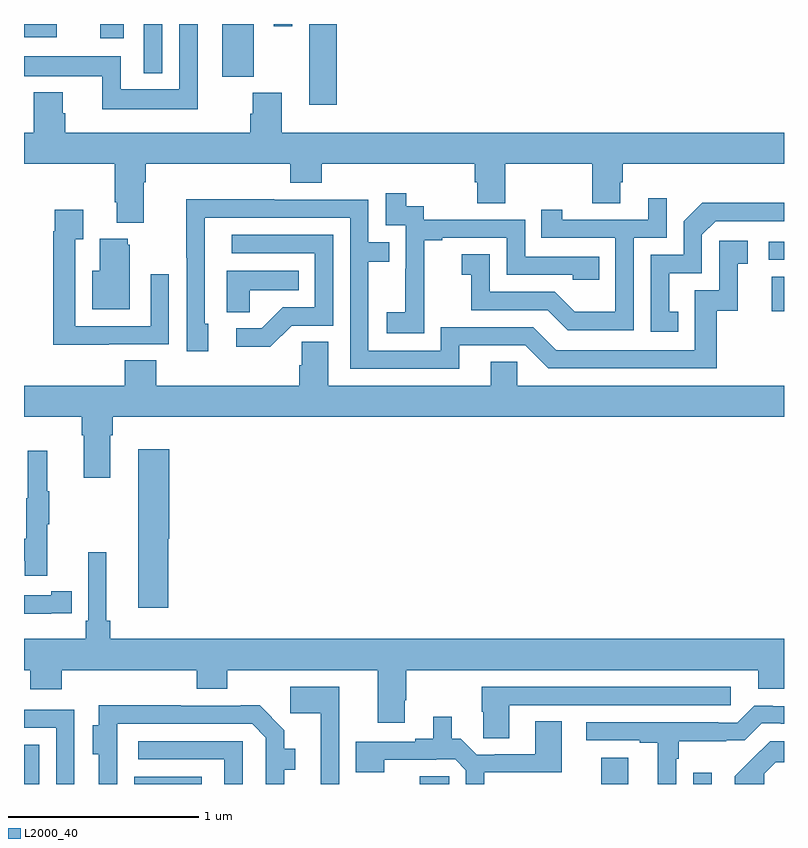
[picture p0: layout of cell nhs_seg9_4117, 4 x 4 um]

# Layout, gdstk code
import gdstk
lib = gdstk.Library(unit=1e-6, precision=1e-09)
def R(c, l, rs):  # rectangles x0, y0, x1, y1
    for r in rs: c.add(gdstk.rectangle(r[:2], r[2:], *l))
def P(c, l, *ps):  # polygons
    for p in ps: c.add(gdstk.Polygon(p, *l))
L2000_40 = (2000, 40)

nhs_seg9_4117 = lib.new_cell('nhs_seg9_4117')
R(nhs_seg9_4117, L2000_40, [(347,1182.5,347.08,1182.706), (347.579,1182.5,347.935,1182.538), (349.084,1182.5,349.237,1182.542), (350.039,1182.5,350.179,1182.637), (350.523,1182.5,350.619,1182.559), (350.936,1184.988,351,1185.169), (350.919,1185.258,351,1185.354), (348.044,1186.222,348.208,1186.5), (347.631,1186.241,347.727,1186.5), (347.402,1186.425,347.524,1186.5), (347,1186.43,347.173,1186.5), (348.315,1186.488,348.411,1186.5)])
P(nhs_seg9_4117, L2000_40, [(348.647,1186.498),(348.617,1186.498),(348.617,1186.5),(348.501,1186.5),(348.501,1186.394),(348.5,1186.394),(348.5,1186.074),(348.647,1186.074)],
  [(347.914,1186.5),(347.817,1186.5),(347.817,1186.156),(347.508,1186.156),(347.508,1186.33),(347,1186.33),(347,1186.226),(347.411,1186.226),(347.411,1186.052),(347.914,1186.052)],
  [(347.629,1185.668),(347.642,1185.668),(347.642,1185.764),(348.401,1185.764),(348.401,1185.665),(348.566,1185.665),(348.566,1185.764),(349.373,1185.764),(349.373,1185.666),(349.385,1185.666),(349.385,1185.556),(349.533,1185.556),(349.533,1185.764),(349.99,1185.764),(349.99,1185.556),(350.137,1185.556),(350.137,1185.666),(350.15,1185.666),(350.15,1185.764),(351,1185.764),(351,1185.928),(348.356,1185.928),(348.356,1186.137),(348.203,1186.137),(348.203,1186.028),(348.191,1186.028),(348.191,1185.928),(347.216,1185.928),(347.216,1186.029),(347.203,1186.029),(347.203,1186.141),(347.051,1186.141),(347.051,1185.928),(347,1185.928),(347,1185.764),(347.477,1185.764),(347.477,1185.562),(347.489,1185.562),(347.489,1185.455),(347.629,1185.455)],
  [(349.107,1185.079),(349.106,1185.079),(349.106,1185.363),(349.201,1185.363),(349.201,1185.375),(349.542,1185.375),(349.542,1185.18),(349.887,1185.18),(349.887,1185.153),(350.027,1185.153),(350.027,1185.276),(349.638,1185.276),(349.638,1185.471),(349.104,1185.471),(349.104,1185.54),(349.012,1185.54),(349.012,1185.61),(348.903,1185.61),(348.903,1185.441),(349.008,1185.441),(349.008,1185.212),(349.007,1185.212),(349.007,1184.983),(348.909,1184.983),(348.909,1184.873),(349.107,1184.873)],
  [(350.208,1185.375),(350.382,1185.375),(350.382,1185.583),(350.285,1185.583),(350.285,1185.471),(349.834,1185.471),(349.834,1185.523),(349.723,1185.523),(349.723,1185.375),(350.112,1185.375),(350.112,1184.986),(349.898,1184.986),(349.794,1185.09),(349.452,1185.09),(349.452,1185.289),(349.305,1185.289),(349.305,1185.179),(349.354,1185.179),(349.354,1184.994),(349.757,1184.994),(349.862,1184.889),(350.208,1184.889)],
  [(349.291,1184.808),(349.638,1184.808),(349.758,1184.688),(350.645,1184.688),(350.645,1184.991),(350.756,1184.991),(350.756,1185.237),(350.809,1185.237),(350.809,1185.358),(350.658,1185.358),(350.658,1185.099),(350.529,1185.099),(350.529,1184.784),(349.8,1184.784),(349.68,1184.904),(349.194,1184.904),(349.194,1184.781),(348.813,1184.781),(348.813,1185.25),(348.923,1185.25),(348.923,1185.351),(348.813,1185.351),(348.813,1185.576),(348.317,1185.576),(348.317,1185.578),(347.854,1185.578),(347.854,1185.271),(347.856,1185.271),(347.856,1184.778),(347.971,1184.778),(347.971,1184.922),(347.952,1184.922),(347.952,1185.48),(348.717,1185.48),(348.717,1184.685),(349.291,1184.685)],
  [(350.444,1184.985),(350.395,1184.985),(350.395,1185.189),(350.568,1185.189),(350.568,1185.39),(350.64,1185.462),(351,1185.462),(351,1185.558),(350.978,1185.558),(350.978,1185.56),(350.57,1185.56),(350.472,1185.462),(350.472,1185.285),(350.298,1185.285),(350.298,1184.88),(350.444,1184.88)],
  [(347.447,1184.814),(347.763,1184.814),(347.763,1185.184),(347.667,1185.184),(347.667,1184.91),(347.271,1184.91),(347.271,1185.367),(347.311,1185.367),(347.311,1185.523),(347.163,1185.523),(347.163,1185.41),(347.155,1185.41),(347.155,1184.813),(347.447,1184.813)],
  [(348.408,1184.913),(348.627,1184.913),(348.627,1185.39),(348.093,1185.39),(348.093,1185.294),(348.531,1185.294),(348.531,1185.009),(348.362,1185.009),(348.251,1184.898),(348.117,1184.898),(348.117,1184.801),(348.295,1184.801)],
  [(347.557,1185.339),(347.546,1185.339),(347.546,1185.37),(347.399,1185.37),(347.399,1185.202),(347.36,1185.202),(347.36,1184.999),(347.557,1184.999)],
  [(348.189,1185.098),(348.446,1185.098),(348.446,1185.202),(348.068,1185.202),(348.068,1184.983),(348.189,1184.983)],
  [(347.455,1184.336),(347.468,1184.336),(347.468,1184.432),(351,1184.432),(351,1184.596),(349.596,1184.596),(349.596,1184.723),(349.457,1184.723),(349.457,1184.596),(348.601,1184.596),(348.601,1184.828),(348.462,1184.828),(348.462,1184.705),(348.449,1184.705),(348.449,1184.596),(347.696,1184.596),(347.696,1184.729),(347.531,1184.729),(347.531,1184.596),(347,1184.596),(347,1184.432),(347.303,1184.432),(347.303,1184.336),(347.315,1184.336),(347.315,1184.112),(347.455,1184.112)],
  [(347.759,1183.791),(347.764,1183.791),(347.764,1184.263),(347.6,1184.263),(347.6,1183.428),(347.759,1183.428)],
  [(347.123,1183.867),(347.134,1183.867),(347.134,1184.041),(347.123,1184.041),(347.123,1184.254),(347.02,1184.254),(347.02,1184.004),(347.013,1184.004),(347.013,1183.79),(347,1183.79),(347,1183.674),(347.005,1183.674),(347.005,1183.596),(347.123,1183.596)],
  [(347.144,1183.398),(347.252,1183.398),(347.252,1183.514),(347.144,1183.514),(347.144,1183.494),(347,1183.494),(347,1183.397),(347.144,1183.397)],
  [(347.453,1183.36),(347.434,1183.36),(347.434,1183.72),(347.337,1183.72),(347.337,1183.36),(347.324,1183.36),(347.324,1183.264),(347,1183.264),(347,1183.1),(347.033,1183.1),(347.033,1182.998),(347.198,1182.998),(347.198,1183.1),(347.909,1183.1),(347.909,1183.001),(348.069,1183.001),(348.069,1183.1),(348.863,1183.1),(348.863,1182.822),(349.003,1182.822),(349.003,1182.94),(349.011,1182.94),(349.011,1183.1),(350.864,1183.1),(350.864,1183.002),(351,1183.002),(351,1183.264),(347.453,1183.264)],
  [(348.66,1183.012),(348.402,1183.012),(348.402,1182.873),(348.563,1182.873),(348.563,1182.5),(348.66,1182.5)],
  [(349.555,1182.915),(350.719,1182.915),(350.719,1183.011),(349.408,1183.011),(349.408,1182.879),(349.417,1182.879),(349.417,1182.742),(349.555,1182.742)],
  [(347.49,1182.816),(348.201,1182.816),(348.273,1182.744),(348.273,1182.5),(348.37,1182.5),(348.37,1182.576),(348.427,1182.576),(348.427,1182.686),(348.371,1182.686),(348.371,1182.784),(348.241,1182.914),(348.14,1182.914),(348.14,1182.912),(347.825,1182.912),(347.825,1182.914),(347.394,1182.914),(347.394,1182.808),(347.363,1182.808),(347.363,1182.656),(347.394,1182.656),(347.394,1182.5),(347.49,1182.5)],
  [(350.433,1182.632),(350.446,1182.632),(350.446,1182.726),(350.696,1182.726),(350.696,1182.729),(350.793,1182.729),(350.883,1182.819),(350.984,1182.819),(350.984,1182.816),(351,1182.816),(351,1182.909),(350.942,1182.909),(350.942,1182.912),(350.844,1182.912),(350.754,1182.822),(350.654,1182.822),(350.654,1182.825),(349.959,1182.825),(349.959,1182.729),(350.24,1182.729),(350.24,1182.717),(350.336,1182.717),(350.336,1182.5),(350.433,1182.5)],
  [(347.265,1182.891),(347,1182.891),(347,1182.795),(347.169,1182.795),(347.169,1182.5),(347.265,1182.5)],
  [(349.422,1182.561),(349.831,1182.561),(349.831,1182.83),(349.691,1182.83),(349.691,1182.657),(349.477,1182.657),(349.477,1182.654),(349.383,1182.654),(349.299,1182.738),(349.252,1182.738),(349.252,1182.853),(349.154,1182.853),(349.154,1182.738),(349.058,1182.738),(349.058,1182.723),(348.745,1182.723),(348.745,1182.562),(348.897,1182.562),(348.897,1182.627),(349.169,1182.627),(349.169,1182.63),(349.269,1182.63),(349.326,1182.573),(349.326,1182.5),(349.422,1182.5)],
  [(350.896,1182.554),(350.957,1182.615),(351,1182.615),(351,1182.726),(350.927,1182.726),(350.83,1182.629),(350.829,1182.63),(350.742,1182.542),(350.742,1182.5),(350.896,1182.5)],
  [(348.15,1182.726),(347.601,1182.726),(347.601,1182.63),(348.054,1182.63),(348.054,1182.5),(348.15,1182.5)])

lib.write_gds('nhs_seg9_4117.gds')
